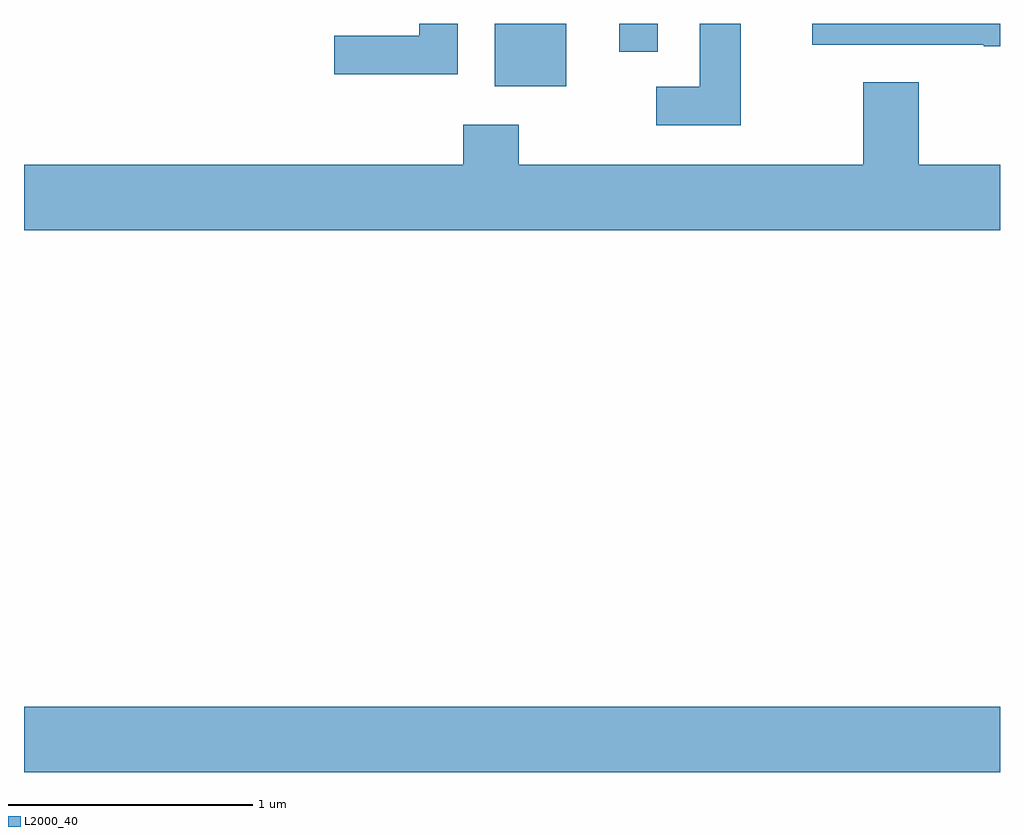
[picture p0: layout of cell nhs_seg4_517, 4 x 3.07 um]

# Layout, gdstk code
import gdstk
lib = gdstk.Library(unit=1e-6, precision=1e-09)
def R(c, l, rs):  # rectangles x0, y0, x1, y1
    for r in rs: c.add(gdstk.rectangle(r[:2], r[2:], *l))
def P(c, l, *ps):  # polygons
    for p in ps: c.add(gdstk.Polygon(p, *l))
L2000_40 = (2000, 40)

nhs_seg4_517 = lib.new_cell('nhs_seg4_517')
R(nhs_seg4_517, L2000_40, [(199.611,1336.916,203.611,1337.184), (201.541,1339.726,201.834,1339.982), (202.051,1339.868,202.209,1339.982)])
P(nhs_seg4_517, L2000_40, [(203.611,1339.982),(202.841,1339.982),(202.841,1339.896),(203.545,1339.896),(203.545,1339.891),(203.611,1339.891)],
  [(201.389,1339.982),(201.231,1339.982),(201.231,1339.934),(200.883,1339.934),(200.883,1339.776),(201.389,1339.776)],
  [(202.549,1339.982),(202.381,1339.982),(202.381,1339.724),(202.203,1339.724),(202.203,1339.566),(202.549,1339.566)],
  [(203.611,1339.404),(203.279,1339.404),(203.279,1339.744),(203.051,1339.744),(203.051,1339.404),(201.639,1339.404),(201.639,1339.569),(201.411,1339.569),(201.411,1339.404),(199.611,1339.404),(199.611,1339.136),(203.611,1339.136)])

lib.write_gds('nhs_seg4_517.gds')
